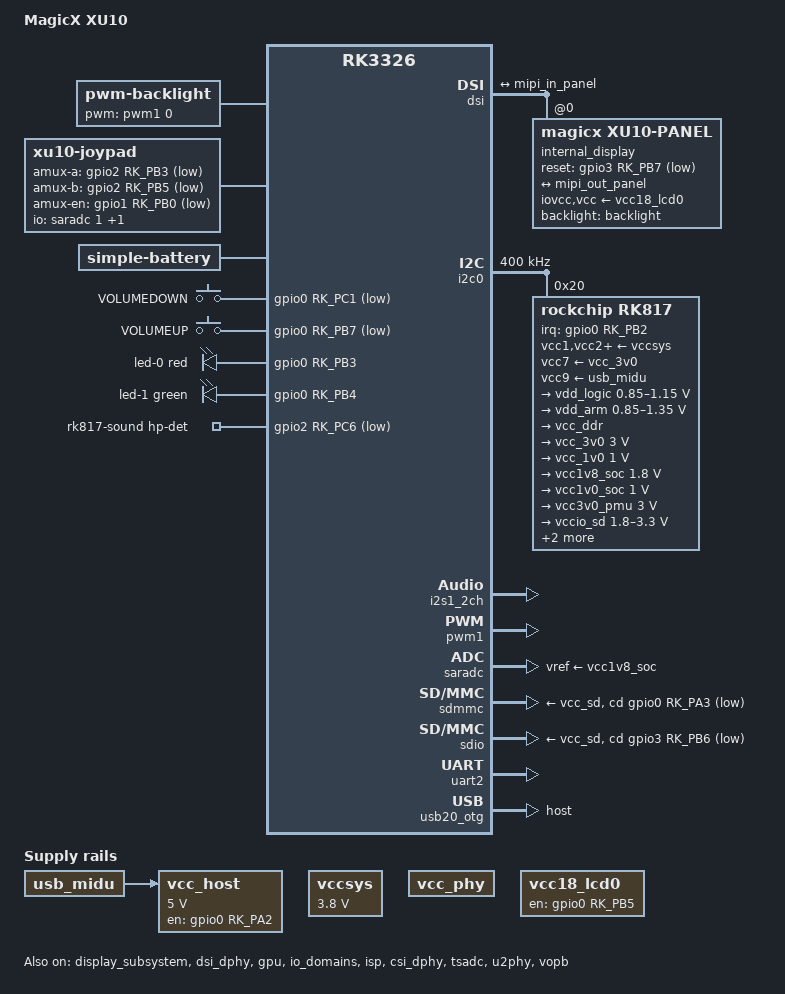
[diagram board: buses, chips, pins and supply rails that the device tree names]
// SPDX-License-Identifier: (GPL-2.0+ OR MIT)
/*
 * Copyright (c) 2019 Hardkernel Co., Ltd
 * Copyright (c) 2020 Theobroma Systems Design und Consulting GmbH
 * Copyright (c) 2022 Maya Matuszczyk <maccraft123mc@gmail.com>
 */

/dts-v1/;
#include <dt-bindings/gpio/gpio.h>
#include <dt-bindings/input/input.h>
#include <dt-bindings/leds/common.h>
#include <dt-bindings/pinctrl/rockchip.h>
#include "rk3326.dtsi"

/ {
    model = "MagicX XU10";
    compatible = "magicx,xu10", "rockchip,rk3326";
     
    aliases {
        mmc0 = &sdio;
        mmc1 = &sdmmc;
    };

    backlight: backlight {
       compatible = "pwm-backlight";
       pwms = <&pwm1 0 25000 0>;
       brightness-levels = <
         0   1   2   3   4   5   6   7
         8   9  10  11  12  13  14  15
        16  17  18  19  20  21  22  23
        24  25  26  27  28  29  30  31
        32  33  34  35  36  37  38  39
        40  41  42  43  44  45  46  47
        48  49  50  51  52  53  54  55
        56  57  58  59  60  61  62  63
        64  65  66  67  68  69  70  71
        72  73  74  75  76  77  78  79
        80  81  82  83  84  85  86  87
        88  89  90  91  92  93  94  95
        96  97  98  99 100 101 102 103
       104 105 106 107 108 109 110 111
       112 113 114 115 116 117 118 119
       120 121 122 123 124 125 126 127
       128 129 130 131 132 133 134 135
       136 137 138 139 140 141 142 143
       144 145 146 147 148 149 150 151
       152 153 154 155 156 157 158 159
       160 161 162 163 164 165 166 167
       168 169 170 171 172 173 174 175
       176 177 178 179 180 181 182 183
       184 185 186 187 188 189 190 191
       192 193 194 195 196 197 198 199
       200 201 202 203 204 205 206 207
       208 209 210 211 212 213 214 215
       216 217 218 219 220 221 222 223
       224 225 226 227 228 229 230 231
       232 233 234 235 236 237 238 239
       240 241 242 243 244 245 246 247
       248 249 250 251 252 253 254 255>;
       default-brightness-level = <128>;
    };

    joypad: xu10-joypad {
        compatible = "xu10-joypad";

        joypad-name = "XU10 Gamepad";
        joypad-product = <0x0200>;
        joypad-revision = <0x0010>;

        status = "okay";
        /*
        - xu10-joypad sysfs list -
        * for poll device interval(ms)
            /sys/devices/platform/odroidgo3_joypad/poll_interval [rw]
            ex) echo 20 > poll_interval
        * for button-adc-fuzz
            /sys/devices/platform/odroidgo3_joypad/adc_fuzz [r]
        * for button-adc-flat
            /sys/devices/platform/odroidgo3_joypad/adc_flat [r]

        * for report control(1:enable, 0:disable)
            /sys/devices/platform/odroidgo3_joypad/enable [rw]
        * for adc calibration value setup(current adcs value -> cal value)
            /sys/devices/platform/odroidgo3_joypad/adc_cal [rw]
            ex) echo 0 > adc_cal
        * for amux data debug
        * Joypad driver is disabled when using this sysfs.
            /sys/devices/platform/odroidgo3_joypad/amux_debug [rw]
            ex) echo 0 > amux_debug --> select amux channel
            ex) cat amux_debug --> get adc data of seleted channel
        */

        /* gpio pincontrol setup */
        pinctrl-names = "default";
        pinctrl-0 = <&btn_pins>;

        /* Analog mux define */
        io-channel-names = "joy_left", "joy_right";
        io-channels = <&saradc 1>, <&saradc 2>;

        /* adc mux channel count */
        amux-count = <4>;

        /* adc mux select(a,b) gpio */
        amux-a-gpios = <&gpio2 RK_PB3 GPIO_ACTIVE_LOW>;
        amux-b-gpios = <&gpio2 RK_PB5 GPIO_ACTIVE_LOW>;

        /* adc mux enable gpio */
        amux-en-gpios = <&gpio1 RK_PB0 GPIO_ACTIVE_LOW>;

        /* adc calculate scale */
        button-adc-scale = <2>;

        /* adc deadzone range  */
        button-adc-deadzone = <180>;

        /*
          specifies fuzz value that is used to filter noise from
          the event stream.
        */
        button-adc-fuzz = <32>;
        button-adc-flat = <32>;

        /*
          Analog Stick data tuning value(precent)
          p = positive direction, n = negative direction
          report value = (real_adc_data * tuning_value) / 100
        */
        abs_x-p-tuning = <200>;
        abs_x-n-tuning = <200>;

        abs_y-p-tuning = <200>;
        abs_y-n-tuning = <200>;

        abs_rx-p-tuning = <200>;
        abs_rx-n-tuning = <200>;

        abs_ry-p-tuning = <200>;
        abs_ry-n-tuning = <200>;

        /* poll device interval (ms), adc read interval */
        poll-interval = <10>;

        /* required for XU10 */
        invert-absx;
        invert-absy;
        
        /* gpio button auto repeat set value : default disable */
        /*
        autorepeat;
        */

        /*
        *** MagicX XU10 - layoout ***
        |-------------------------------|
        | sw14  sw17         sw16  sw15 |
        |-----|-------------------|-----|
        |     |                   |     |
        |vol+ |                   | sw13|
        |vol- |                   |     |
        |     |    LCD Display    |     |
        |     |                   |     |
        |     |                   |     |
        |     |-------------------|     |
        |         sw9     sw10          |
        |                               |
        |     sw1              sw7      |
        |  sw3   sw4        sw8   sw6   |
        |     sw2              sw5      |
        |                               |
        |          sw11   sw12          |
        |                               |
        |-------|---------------|-------|
        */

       /*
           joypad driver is poll-device driver.
           poll-device is does not support wakeup-source.
       */

      sw1 {
          gpios = <&gpio1 RK_PB4 GPIO_ACTIVE_LOW>;
          label = "GPIO DPAD-UP";
          linux,code = <BTN_DPAD_UP>; // 0x220
      };
      sw2 {
          gpios = <&gpio1 RK_PB5 GPIO_ACTIVE_LOW>;
          label = "GPIO DPAD-DOWN";
          linux,code = <BTN_DPAD_DOWN>; // 0x221
      };
      sw3 {
          gpios = <&gpio1 RK_PB6 GPIO_ACTIVE_LOW>;
          label = "GPIO DPAD-LEFT";
          linux,code = <BTN_DPAD_LEFT>; // 0x222
      };
      sw4 {
          gpios = <&gpio1 RK_PB7 GPIO_ACTIVE_LOW>;
          label = "GPIO DPAD-RIGHT";
          linux,code = <BTN_DPAD_RIGHT>; // 0x223
      };
      sw5 {
          gpios = <&gpio2 RK_PA2 GPIO_ACTIVE_LOW>;
          label = "GPIO BTN-A";
          linux,code = <BTN_SOUTH>; // 0x130
      };
      sw6 {
          gpios = <&gpio2 RK_PA3 GPIO_ACTIVE_LOW>;
          label = "GPIO BTN-B";
          linux,code = <BTN_EAST>; // 0x131
      };
      sw7 {
          gpios = <&gpio2 RK_PA1 GPIO_ACTIVE_LOW>;
          label = "GPIO BTN-Y";
          linux,code = <BTN_NORTH>; // 0x133
      };
      sw8 {
          gpios = <&gpio2 RK_PA0 GPIO_ACTIVE_LOW>;
          label = "GPIO BTN-X";
          linux,code = <BTN_WEST>; // 0x134
      };
      sw9 {
          gpios = <&gpio2 RK_PB0 GPIO_ACTIVE_LOW>;
          label = "GPIO BTN-SELECT";
          linux,code = <BTN_SELECT>; // 0x13a
      };
      sw10 {
          gpios = <&gpio2 RK_PA5 GPIO_ACTIVE_LOW>;
          label = "GPIO BTN-START";
          linux,code = <BTN_START>; // 0x13b
      };
      sw11 {
          gpios = <&gpio2 RK_PB1 GPIO_ACTIVE_LOW>;
          label = "GPIO BTN-THUMBL";
          linux,code = <BTN_THUMBL>; // 0x13d
      };
      sw12 {
          gpios = <&gpio2 RK_PB2 GPIO_ACTIVE_LOW>;
          label = "GPIO BTN-THUMBR";
          linux,code = <BTN_THUMBR>; // 0x13e
      };
      sw13 {
          gpios = <&gpio2 RK_PA4 GPIO_ACTIVE_LOW>;
          label = "GPIO BTN-G";
          linux,code = <BTN_TRIGGER_HAPPY1>; // 0x2c0
      };
      sw14 {
          gpios = <&gpio2 RK_PA6 GPIO_ACTIVE_LOW>;
          label = "GPIO BTN-LEFT";
          linux,code = <BTN_TL>; // 0x136
      };
      sw15 {
          gpios = <&gpio2 RK_PA7 GPIO_ACTIVE_LOW>;
          label = "GPIO BTN-RIGHT";
          linux,code = <BTN_TR>; // 0x137
      };
      sw16 {
          gpios = <&gpio3 RK_PB2 GPIO_ACTIVE_LOW>;
          label = "GPIO BTN-RIGHT2";
          linux,code = <BTN_TR2>; // 0x139
      };
      sw17 {
          gpios = <&gpio3 RK_PB4 GPIO_ACTIVE_LOW>;
          label = "GPIO BTN-LEFT2";
          linux,code = <BTN_TL2>; // 0x138
      };
    };

    battery: battery {
        compatible = "simple-battery";
        charge-full-design-microamp-hours = <3000000>;
        charge-term-current-microamp = <200000>;
        constant-charge-current-max-microamp = <1500000>;
        constant-charge-voltage-max-microvolt = <4200000>;
        factory-internal-resistance-micro-ohms = <100000>;
        voltage-max-design-microvolt = <4100000>;
        voltage-min-design-microvolt = <3300000>;

        ocv-capacity-celsius = <20>;
        ocv-capacity-table-0 =  
            <4046950 100>, <4001920 95>, <3967900 90>, <3940000 85>,
            <3910000 80>, <3870000 75>, <3830000 70>, <3790000 65>,
            <3750000 60>, <3720000 55>, <3690000 50>, <3650000 45>,
            <3610000 40>, <3570000 35>, <3540000 30>, <3500000 25>,
            <3460000 20>, <3420000 15>, <3380000 10>, <3340000 5>,
            <3300000 0>;
    };

    gpio-keys-vol {
       compatible = "gpio-keys";
       autorepeat;
       pinctrl-0 = <&btn_pins_vol>;
       pinctrl-names = "default";

       button-vol-down {
           gpios = <&gpio0 RK_PC1 GPIO_ACTIVE_LOW>;
           label = "VOLUMEDOWN";
           linux,code = <KEY_VOLUMEDOWN>;
       };

       button-vol-up {
           gpios = <&gpio0 RK_PB7 GPIO_ACTIVE_LOW>;
           label = "VOLUMEUP";
           linux,code = <KEY_VOLUMEUP>;
       };
    };

    leds: gpio-leds {
         compatible = "gpio-leds";
         pinctrl-0 = <&led_pins>;
         pinctrl-names = "default";

        led-0 {
            color = <LED_COLOR_ID_RED>;
            default-state = "off";
            function = LED_FUNCTION_CHARGING;
            gpios = <&gpio0 RK_PB3 GPIO_ACTIVE_HIGH>;
        };

        led-1 {
            color = <LED_COLOR_ID_GREEN>;
            default-state = "off";
            function = LED_FUNCTION_STATUS;
            gpios = <&gpio0 RK_PB4 GPIO_ACTIVE_HIGH>;
        };
    };

    rk817-sound {
       compatible = "simple-audio-card";
       pinctrl-names = "default";
       pinctrl-0 = <&hp_det>;
       simple-audio-card,name = "rk817_int";
       simple-audio-card,format = "i2s";
       simple-audio-card,hp-det-gpios = <&gpio2 RK_PC6 GPIO_ACTIVE_LOW>;
       simple-audio-card,mclk-fs = <256>;
       simple-audio-card,widgets =
           "Microphone", "Mic Jack",
           "Headphone", "Headphones",
           "Speaker", "Speaker";
       simple-audio-card,routing =
           "MICL", "Mic Jack",
           "Headphones", "HPOL",
           "Headphones", "HPOR",
           "Speaker", "SPKO";

       simple-audio-card,codec {
           sound-dai = <&rk817>;
       };

       simple-audio-card,cpu {
           sound-dai = <&i2s1_2ch>;
       };
    };

    vccsys: vccsys {
       compatible = "regulator-fixed";
       regulator-name = "vcc3v8_sys";
       regulator-always-on;
       regulator-min-microvolt = <3800000>;
       regulator-max-microvolt = <3800000>;
    };

	vcc-phy-regulator {
		compatible = "regulator-fixed";
		regulator-name = "vcc_phy";
		regulator-always-on;
		regulator-boot-on;
	};

	vcc18_lcd0: vcc18-lcd0 {
		compatible = "regulator-fixed";
		regulator-name = "vcc18_lcd0_n";
		gpio = <&gpio0 RK_PB5 GPIO_ACTIVE_HIGH>;
		enable-active-high;
		pinctrl-0 = <&vcc18_lcd_n>;
		pinctrl-names = "default";
		regulator-boot-on;

		regulator-state-mem {
			regulator-off-in-suspend;
		};
	};
    
    vcc_host: vcc_host {
        compatible = "regulator-fixed";
        regulator-name = "vcc_host";
        regulator-min-microvolt = <5000000>;
        regulator-max-microvolt = <5000000>;
        gpio = <&gpio0 RK_PA2 GPIO_ACTIVE_HIGH>;
        enable-active-high;
        regulator-always-on;
        regulator-boot-on;
        vin-supply = <&usb_midu>;
    };
};

&cpu0 {
    cpu-supply = <&vdd_arm>;
};

&cpu1 {
    cpu-supply = <&vdd_arm>;
};

&cpu2 {
    cpu-supply = <&vdd_arm>;
};

&cpu3 {
    cpu-supply = <&vdd_arm>;
};

&cru {
    assigned-clocks = <&cru PLL_NPLL>,
        <&cru ACLK_BUS_PRE>, <&cru ACLK_PERI_PRE>,
        <&cru HCLK_BUS_PRE>, <&cru HCLK_PERI_PRE>,
        <&cru PCLK_BUS_PRE>, <&cru SCLK_GPU>;

    assigned-clock-rates = <1188000000>,
        <200000000>, <200000000>,
        <150000000>, <150000000>,
        <100000000>, <200000000>;
};

&display_subsystem {
    status = "okay";
};

&dsi {
    status = "okay";

    ports {
        mipi_out: port@1 {
          reg = <1>;

          mipi_out_panel: endpoint {
              remote-endpoint = <&mipi_in_panel>;
          };
        };
    };

    internal_display: panel@0 {
        compatible = "magicx,xu10-panel", "sitronix,st7703";
        iovcc-supply = <&vcc18_lcd0>;
        vcc-supply = <&vcc18_lcd0>;
        reg = <0>;
        backlight = <&backlight>;
        reset-gpios = <&gpio3 RK_PB7 GPIO_ACTIVE_LOW>;
        pinctrl-names = "default";
        pinctrl-0 = <&lcd_rst>;

        port {
            mipi_in_panel: endpoint {
                remote-endpoint = <&mipi_out_panel>;
            };
        };
    };
};

&dsi_dphy {
    status = "okay";
};

&gpu {
    mali-supply = <&vdd_logic>;
    status = "okay";
};

&i2c0 {
    clock-frequency = <400000>;
    i2c-scl-falling-time-ns = <16>;
    i2c-scl-rising-time-ns = <280>;
    status = "okay";

    rk817: pmic@20 {
        compatible = "rockchip,rk817";
        reg = <0x20>;
        interrupt-parent = <&gpio0>;
        interrupts = <RK_PB2 IRQ_TYPE_LEVEL_LOW>;
        clock-output-names = "rk808-clkout1", "xin32k";
        clock-names = "mclk";
        clocks = <&cru SCLK_I2S1_OUT>;
        pinctrl-names = "default";
        pinctrl-0 = <&pmic_int>, <&i2s1_2ch_mclk>;
        rockchip,system-power-controller;
        wakeup-source;
        #clock-cells = <1>;
        #sound-dai-cells = <0>;

        vcc1-supply = <&vccsys>;
        vcc2-supply = <&vccsys>;
        vcc3-supply = <&vccsys>;
        vcc4-supply = <&vccsys>;
        vcc5-supply = <&vccsys>;
        vcc6-supply = <&vccsys>;
        vcc7-supply = <&vcc_3v0>;
        vcc8-supply = <&vccsys>;
        vcc9-supply = <&usb_midu>;

    regulators {
        vdd_logic: DCDC_REG1 {
              regulator-name = "vdd_logic";
              regulator-min-microvolt = <850000>;
              regulator-max-microvolt = <1150000>;
              regulator-ramp-delay = <6001>;
              regulator-always-on;
              regulator-boot-on;

              regulator-state-mem {
                  regulator-on-in-suspend;
                  regulator-suspend-microvolt = <950000>;
              };
        };

        vdd_arm: DCDC_REG2 {
              regulator-name = "vdd_arm";
              regulator-min-microvolt = <850000>;
              regulator-max-microvolt = <1350000>;
              regulator-ramp-delay = <6001>;
              regulator-always-on;
              regulator-boot-on;

              regulator-state-mem {
                  regulator-off-in-suspend;
                  regulator-suspend-microvolt = <950000>;
              };
        };

        vcc_ddr: DCDC_REG3 {
              regulator-name = "vcc_ddr";
              regulator-always-on;
              regulator-boot-on;

              regulator-state-mem {
                  regulator-on-in-suspend;
              };
        };

        vcc_3v0: DCDC_REG4 {
              regulator-name = "vcc_3v0";
              regulator-min-microvolt = <3000000>;
              regulator-max-microvolt = <3000000>;
              regulator-always-on;
              regulator-boot-on;

              regulator-state-mem {
                  regulator-off-in-suspend;
                  regulator-suspend-microvolt = <3000000>;
              };
        };

        vcc_1v0: LDO_REG1 {
              regulator-name = "vcc_1v0";
              regulator-always-on;
              regulator-boot-on;
              regulator-min-microvolt = <1000000>;
              regulator-max-microvolt = <1000000>;

              regulator-state-mem {
                  regulator-on-in-suspend;
                  regulator-suspend-microvolt = <1000000>;
              };
        };

        vcc1v8_soc: LDO_REG2 {
              regulator-name = "vcc1v8_soc";
              regulator-min-microvolt = <1800000>;
              regulator-max-microvolt = <1800000>;
              regulator-always-on;
              regulator-boot-on;

              regulator-state-mem {
                  regulator-on-in-suspend;
                  regulator-suspend-microvolt = <1800000>;
              };
        };

        vcc1v0_soc: LDO_REG3 {
              regulator-name = "vcc1v0_soc";
              regulator-min-microvolt = <1000000>;
              regulator-max-microvolt = <1000000>;
              regulator-always-on;
              regulator-boot-on;

              regulator-state-mem {
                  regulator-on-in-suspend;
                  regulator-suspend-microvolt = <1000000>;
              };
        };

        vcc3v0_pmu: LDO_REG4 {
              regulator-name = "vcc3v0_pmu";
              regulator-min-microvolt = <3000000>;
              regulator-max-microvolt = <3000000>;
              regulator-always-on;
              regulator-boot-on;

              regulator-state-mem {
                  regulator-on-in-suspend;
                  regulator-suspend-microvolt = <3000000>;
              };
        };

        vccio_sd: LDO_REG5 {
              regulator-name = "vccio_sd";
              regulator-min-microvolt = <1800000>;
              regulator-max-microvolt = <3300000>;
              regulator-always-on;
              regulator-boot-on;

              regulator-state-mem {
                  regulator-on-in-suspend;
                  regulator-suspend-microvolt = <3300000>;
              };
        };

        vcc_sd: LDO_REG6 {
              regulator-name = "vcc_sd";
              regulator-min-microvolt = <1800000>;
              regulator-max-microvolt = <3000000>;
              regulator-always-on;
              regulator-boot-on;

              regulator-state-mem {
                  regulator-on-in-suspend;
                  regulator-suspend-microvolt = <3000000>;
              };
        };

        vcc2v8_dvp: LDO_REG7 {
              regulator-name = "vcc2v8_dvp";
              regulator-min-microvolt = <2800000>;
              regulator-max-microvolt = <2800000>;

              regulator-state-mem {
              regulator-off-in-suspend;
                  regulator-suspend-microvolt = <2800000>;
              };
        };

        vcc3v0_dvp: LDO_REG8 {
              regulator-name = "vcc3v0_dvp";
              regulator-min-microvolt = <3000000>;
              regulator-max-microvolt = <3000000>;
              regulator-always-on;
              regulator-boot-on;

              regulator-state-mem {
                  regulator-on-in-suspend;
                  regulator-suspend-microvolt = <3000000>;
              };
        };

        vdd1v5_dvp: LDO_REG9 {
              regulator-min-microvolt = <1500000>;
              regulator-max-microvolt = <1500000>;
              regulator-name = "vdd1v5_dvp";

              regulator-state-mem {
                  regulator-off-in-suspend;
                  regulator-suspend-microvolt = <1500000>;
              };
        };

        usb_midu: BOOST {
              regulator-name = "usb_midu";
              regulator-min-microvolt = <4700000>;
              regulator-max-microvolt = <5400000>;
              regulator-always-on;
              regulator-boot-on;
        };

    };

    rk817_charger: charger {
         monitored-battery = <&battery>;
         rockchip,resistor-sense-micro-ohms = <10000>;
         rockchip,sleep-enter-current-microamp = <300000>;
         rockchip,sleep-filter-current-microamp = <100000>;
    };

    rk817_codec: codec {
         rockchip,mic-in-differential;
    };
  };
};

/* I2S 1 Channel Used Header(P2):1(GPIO2.C3),2(.C2), 3(.C1), 4(.C5), 5(.C4) */
&i2s1_2ch {
    status = "okay";
    #sound-dai-cells = <0>;
};

&io_domains {
    vccio1-supply = <&vcc1v8_soc>;
    vccio2-supply = <&vccio_sd>;
    vccio3-supply = <&vcc3v0_dvp>;
    vccio4-supply = <&vcc_3v0>;
    vccio5-supply = <&vcc_3v0>;
    vccio6-supply = <&vcc_3v0>;
    status = "okay";
};

&isp {
    status = "okay";
};

&isp_mmu {
    status = "okay";
};

&pmu_io_domains {
    pmuio1-supply = <&vcc3v0_pmu>;
    pmuio2-supply = <&vcc3v0_pmu>;
    status = "okay";
};

&csi_dphy {
    status = "okay";
};

&pwm1 {
    status = "okay";
};

&saradc {
    vref-supply = <&vcc1v8_soc>;
    status = "okay";
};

&sdmmc {
    cap-sd-highspeed;
    card-detect-delay = <200>;
    cd-gpios = <&gpio0 RK_PA3 GPIO_ACTIVE_LOW>; /*[> ff370000 PD_SDCARD CD GPIO <]*/
    sd-uhs-sdr12;
    sd-uhs-sdr25;
    sd-uhs-sdr50;
    sd-uhs-sdr104;
    vmmc-supply = <&vcc_sd>;
    vqmmc-supply = <&vccio_sd>;
    status = "okay";
};

&sdio {
    cap-sd-highspeed;
    card-detect-delay = <200>;
    cd-gpios = <&gpio3 RK_PB6 GPIO_ACTIVE_LOW>; /*[> CD GPIO <]*/
    sd-uhs-sdr12;
    sd-uhs-sdr25;
    sd-uhs-sdr50;
    sd-uhs-sdr104;
    vmmc-supply = <&vcc_sd>;
    vqmmc-supply = <&vccio_sd>;
    status = "okay";
};

&tsadc {
    status = "okay";
};

&u2phy {
    status = "okay";

    u2phy_host: host-port {
        status = "okay";
    };

    u2phy_otg: otg-port {
        status = "disabled";
    };
};

/* FIQ Header(P2): 2(RXD:GPIO2.B4),3(TXD:.B6) */
&uart2 {
    pinctrl-names = "default";
    pinctrl-0 = <&uart2m1_xfer>;
    status = "okay";
};

&usb20_otg {
    status = "okay";
    dr_mode = "host";
};

&vopb {
    status = "okay";
};

&vopb_mmu {
    status = "okay";
};

&pinctrl {
      btns {
        btn_pins: btn-pins {
          rockchip,pins = <1 RK_PB4 RK_FUNC_GPIO &pcfg_pull_up>,
              <1 RK_PB5 RK_FUNC_GPIO &pcfg_pull_up>,
              <1 RK_PB6 RK_FUNC_GPIO &pcfg_pull_up>,
              <1 RK_PB7 RK_FUNC_GPIO &pcfg_pull_up>,
              <2 RK_PA0 RK_FUNC_GPIO &pcfg_pull_up>,
              <2 RK_PA1 RK_FUNC_GPIO &pcfg_pull_up>,
              <2 RK_PA2 RK_FUNC_GPIO &pcfg_pull_up>,
              <2 RK_PA3 RK_FUNC_GPIO &pcfg_pull_up>,
              <2 RK_PA4 RK_FUNC_GPIO &pcfg_pull_up>,
              <2 RK_PA5 RK_FUNC_GPIO &pcfg_pull_up>,
              <2 RK_PA6 RK_FUNC_GPIO &pcfg_pull_up>,
              <2 RK_PA7 RK_FUNC_GPIO &pcfg_pull_up>,
              <2 RK_PB0 RK_FUNC_GPIO &pcfg_pull_up>,
              <2 RK_PB1 RK_FUNC_GPIO &pcfg_pull_up>,
              <2 RK_PB2 RK_FUNC_GPIO &pcfg_pull_up>,
              <3 RK_PB2 RK_FUNC_GPIO &pcfg_pull_up>,
              <3 RK_PB4 RK_FUNC_GPIO &pcfg_pull_up>;
        };

    btn_pins_vol: btn-pins-vol {
        rockchip,pins =
            <0 RK_PC1 RK_FUNC_GPIO &pcfg_pull_up>,
            <0 RK_PB7 RK_FUNC_GPIO &pcfg_pull_up>;
        };
    };

    headphone {
        hp_det: hp-det {
            rockchip,pins = <2 RK_PC6 RK_FUNC_GPIO &pcfg_pull_up>;
        };
    };

    gpio-lcd {
        lcd_rst: lcd-rst {
            rockchip,pins = <3 RK_PB7 RK_FUNC_GPIO &pcfg_pull_none>;
        };
    };

    vcc18-lcd {
        vcc18_lcd_n: vcc18-lcd-n {
            rockchip,pins = <0 RK_PB5 RK_FUNC_GPIO &pcfg_pull_none>;
        };
    };

    gpio-led {
        led_pins: led-pins {
            rockchip,pins =
                <0 RK_PB3 RK_FUNC_GPIO &pcfg_pull_none>,
                <0 RK_PB4 RK_FUNC_GPIO &pcfg_pull_none>;
        };
    };

    pmic {
        dc_det: dc-det {
            rockchip,pins = <0 RK_PB3 RK_FUNC_GPIO &pcfg_pull_none>;
        };

        pmic_int: pmic-int {
            rockchip,pins = <0 RK_PB2 RK_FUNC_GPIO &pcfg_pull_up>;
        };

        soc_slppin_gpio: soc_slppin_gpio {
            rockchip,pins = <0 RK_PA4 RK_FUNC_GPIO &pcfg_output_low>;
        };

        soc_slppin_rst: soc_slppin_rst {
            rockchip,pins = <0 RK_PA4 2 &pcfg_pull_none>;
        };

        soc_slppin_slp: soc_slppin_slp {
            rockchip,pins = <0 RK_PA4 1 &pcfg_pull_none>;
        };
   };
};
